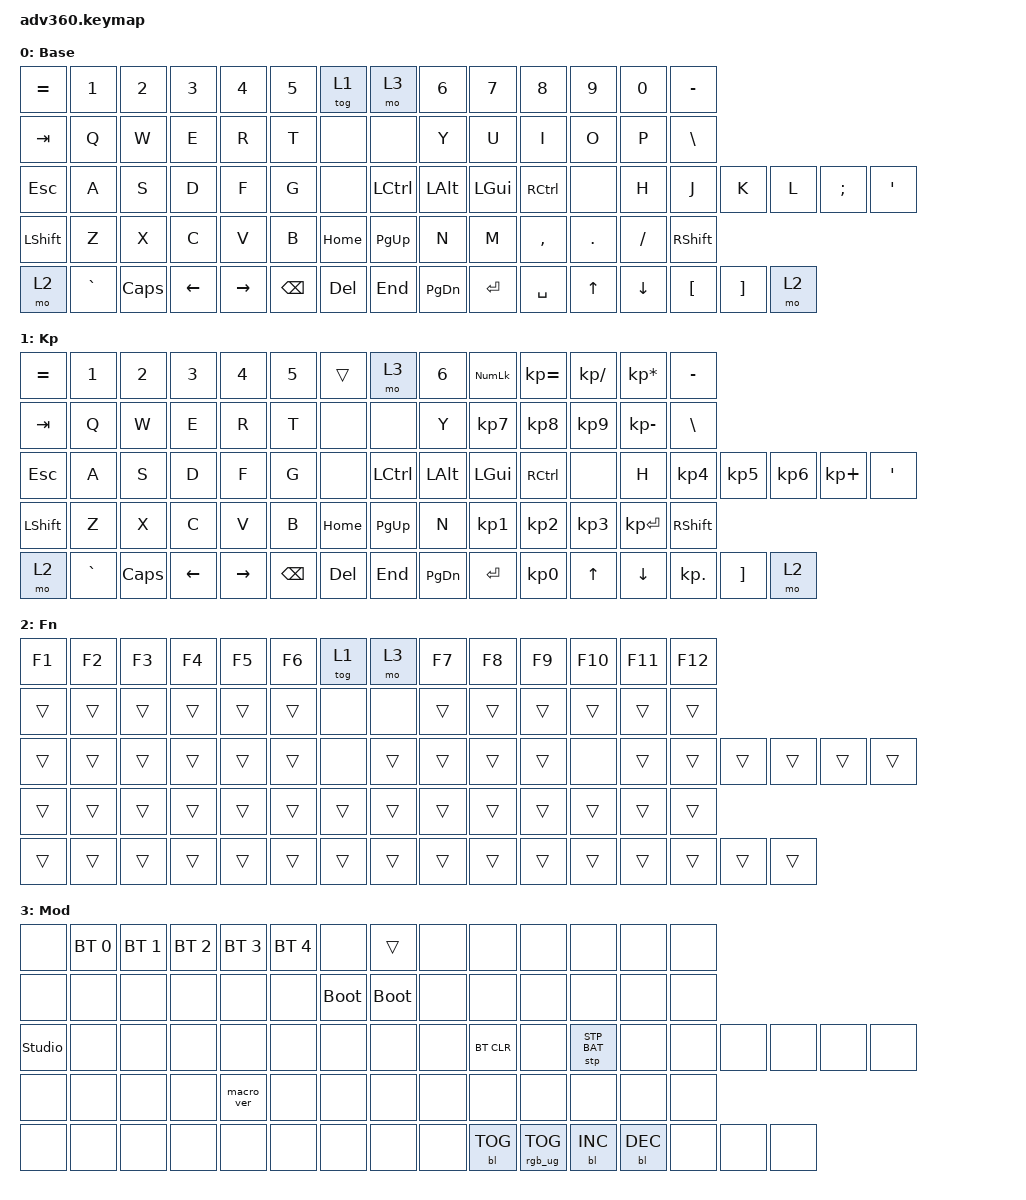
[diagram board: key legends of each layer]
#include <behaviors.dtsi>
#include <dt-bindings/zmk/keys.h>
#include <dt-bindings/zmk/bt.h>
#include <dt-bindings/zmk/rgb.h>
#include <dt-bindings/zmk/stp.h>
#include <dt-bindings/zmk/backlight.h>
#include <dt-bindings/zmk/pointing.h>

/ {
    behaviors {
      #include "macros.dtsi"
      #include "version.dtsi"

      hm: homerow_mods {
          compatible = "zmk,behavior-hold-tap";
          label = "HOMEROW_MODS";
          #binding-cells = <2>;
          tapping-term-ms = <200>;
          quick_tap_ms = <175>;
          flavor = "tap-preferred";
          bindings = <&kp>, <&kp>;
      };

        /* tandem:begin */
        // Added by Tandem. Edits inside this block are overwritten.
        // Tap: key. Hold: layer or modifier. Tap, then hold: the key repeats.
        ltr: layer_tap_repeat {
            compatible = "zmk,behavior-hold-tap";
            #binding-cells = <2>;
            flavor = "tap-preferred";
            tapping-term-ms = <200>;
            quick-tap-ms = <200>;
            bindings = <&mo>, <&kp>;
        };
        mtr: mod_tap_repeat {
            compatible = "zmk,behavior-hold-tap";
            #binding-cells = <2>;
            flavor = "hold-preferred";
            tapping-term-ms = <200>;
            quick-tap-ms = <200>;
            bindings = <&kp>, <&kp>;
        };
        /* tandem:end */
    };

  keymap {
      compatible = "zmk,keymap";

      default_layer {
          display-name = "Base";
          bindings = <
&kp EQUAL       &kp N1     &kp N2        &kp N3          &kp N4           &kp N5         &tog 1      &mo 3             &kp N6         &kp N7        &kp N8             &kp N9        &kp N0          &kp MINUS
&kp TAB         &kp Q      &kp W         &kp E           &kp R            &kp T          &none       &none             &kp Y          &kp U         &kp I              &kp O         &kp P           &kp BACKSLASH
&kp ESCAPE      &kp A      &kp S         &kp D           &kp F            &kp G          &none       &kp LEFT_CONTROL  &kp LEFT_ALT   &kp LEFT_GUI  &kp RIGHT_CONTROL  &none         &kp H           &kp J             &kp K              &kp L  &kp SEMICOLON  &kp SINGLE_QUOTE
&kp LEFT_SHIFT  &kp Z      &kp X         &kp C           &kp V            &kp B          &kp HOME    &kp PAGE_UP       &kp N          &kp M         &kp COMMA          &kp PERIOD    &kp SLASH       &kp RIGHT_SHIFT
&mo 2           &kp GRAVE  &kp CAPSLOCK  &kp LEFT_ARROW  &kp RIGHT_ARROW  &kp BACKSPACE  &kp DELETE  &kp END           &kp PAGE_DOWN  &kp RETURN    &kp SPACE          &kp UP_ARROW  &kp DOWN_ARROW  &kp LEFT_BRACKET  &kp RIGHT_BRACKET  &mo 2
          >;
      };

      layer_kp {
          display-name = "Kp";
          bindings = <
&kp EQUAL       &kp N1     &kp N2        &kp N3          &kp N4           &kp N5         &trans      &mo 3             &kp N6         &kp KP_NUMLOCK  &kp KP_EQUAL       &kp KP_DIVIDE  &kp KP_MULTIPLY  &kp MINUS
&kp TAB         &kp Q      &kp W         &kp E           &kp R            &kp T          &none       &none             &kp Y          &kp KP_N7       &kp KP_N8          &kp KP_N9      &kp KP_MINUS     &kp BACKSLASH
&kp ESCAPE      &kp A      &kp S         &kp D           &kp F            &kp G          &none       &kp LEFT_CONTROL  &kp LEFT_ALT   &kp LEFT_GUI    &kp RIGHT_CONTROL  &none          &kp H            &kp KP_N4        &kp KP_N5          &kp KP_N6  &kp KP_PLUS  &kp SINGLE_QUOTE
&kp LEFT_SHIFT  &kp Z      &kp X         &kp C           &kp V            &kp B          &kp HOME    &kp PAGE_UP       &kp N          &kp KP_N1       &kp KP_N2          &kp KP_N3      &kp KP_ENTER     &kp RIGHT_SHIFT
&mo 2           &kp GRAVE  &kp CAPSLOCK  &kp LEFT_ARROW  &kp RIGHT_ARROW  &kp BACKSPACE  &kp DELETE  &kp END           &kp PAGE_DOWN  &kp RETURN      &kp KP_N0          &kp UP_ARROW   &kp DOWN_ARROW   &kp KP_DOT       &kp RIGHT_BRACKET  &mo 2
          >;
      };

      layer_fn {
          display-name = "Fn";
          bindings = <
&kp F1  &kp F2  &kp F3  &kp F4  &kp F5  &kp F6  &tog 1  &mo 3   &kp F7  &kp F8  &kp F9  &kp F10  &kp F11  &kp F12
&trans  &trans  &trans  &trans  &trans  &trans  &none   &none   &trans  &trans  &trans  &trans   &trans   &trans
&trans  &trans  &trans  &trans  &trans  &trans  &none   &trans  &trans  &trans  &trans  &none    &trans   &trans   &trans  &trans  &trans  &trans
&trans  &trans  &trans  &trans  &trans  &trans  &trans  &trans  &trans  &trans  &trans  &trans   &trans   &trans
&trans  &trans  &trans  &trans  &trans  &trans  &trans  &trans  &trans  &trans  &trans  &trans   &trans   &trans   &trans  &trans
          >;
      };

      layer_mod {
          display-name = "Mod";
          bindings = <
&none           &bt BT_SEL 0  &bt BT_SEL 1  &bt BT_SEL 2  &bt BT_SEL 3  &bt BT_SEL 4  &none        &trans       &none  &none       &none            &none         &none       &none
&none           &none         &none         &none         &none         &none         &bootloader  &bootloader  &none  &none       &none            &none         &none       &none
&studio_unlock  &none         &none         &none         &none         &none         &none        &none        &none  &bt BT_CLR  &none            &stp STP_BAT  &none       &none  &none  &none  &none  &none
&none           &none         &none         &none         &macro_ver    &none         &none        &none        &none  &none       &none            &none         &none       &none
&none           &none         &none         &none         &none         &none         &none        &none        &none  &bl BL_TOG  &rgb_ug RGB_TOG  &bl BL_INC    &bl BL_DEC  &none  &none  &none
          >;
      };
  };
};
